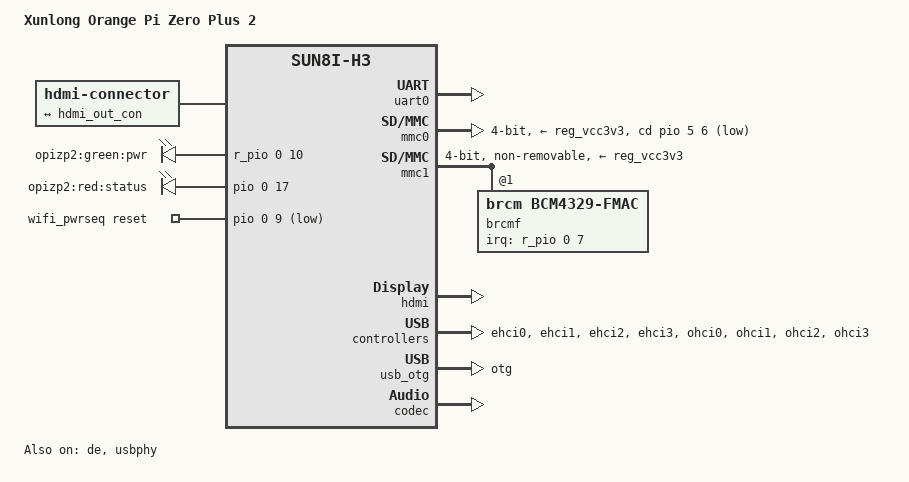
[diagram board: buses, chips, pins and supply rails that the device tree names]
/*
 * Copyright (C) 2015 Chen-Yu Tsai <wens@csie.org>
 * Copyright (C) 2018 Peter Mamonov <pmamonov@gmail.com>
 *
 * This file is dual-licensed: you can use it either under the terms
 * of the GPL or the X11 license, at your option. Note that this dual
 * licensing only applies to this file, and not this project as a
 * whole.
 *
 *  a) This file is free software; you can redistribute it and/or
 *     modify it under the terms of the GNU General Public License as
 *     published by the Free Software Foundation; either version 2 of the
 *     License, or (at your option) any later version.
 *
 *     This file is distributed in the hope that it will be useful,
 *     but WITHOUT ANY WARRANTY; without even the implied warranty of
 *     MERCHANTABILITY or FITNESS FOR A PARTICULAR PURPOSE.  See the
 *     GNU General Public License for more details.
 *
 * Or, alternatively,
 *
 *  b) Permission is hereby granted, free of charge, to any person
 *     obtaining a copy of this software and associated documentation
 *     files (the "Software"), to deal in the Software without
 *     restriction, including without limitation the rights to use,
 *     copy, modify, merge, publish, distribute, sublicense, and/or
 *     sell copies of the Software, and to permit persons to whom the
 *     Software is furnished to do so, subject to the following
 *     conditions:
 *
 *     The above copyright notice and this permission notice shall be
 *     included in all copies or substantial portions of the Software.
 *
 *     THE SOFTWARE IS PROVIDED "AS IS", WITHOUT WARRANTY OF ANY KIND,
 *     EXPRESS OR IMPLIED, INCLUDING BUT NOT LIMITED TO THE WARRANTIES
 *     OF MERCHANTABILITY, FITNESS FOR A PARTICULAR PURPOSE AND
 *     NONINFRINGEMENT. IN NO EVENT SHALL THE AUTHORS OR COPYRIGHT
 *     HOLDERS BE LIABLE FOR ANY CLAIM, DAMAGES OR OTHER LIABILITY,
 *     WHETHER IN AN ACTION OF CONTRACT, TORT OR OTHERWISE, ARISING
 *     FROM, OUT OF OR IN CONNECTION WITH THE SOFTWARE OR THE USE OR
 *     OTHER DEALINGS IN THE SOFTWARE.
 */

/dts-v1/;
#include "sun8i-h3.dtsi"
#include "sunxi-common-regulators.dtsi"

#include <dt-bindings/gpio/gpio.h>
#include <dt-bindings/input/input.h>

/ {
	model = "Xunlong Orange Pi Zero Plus 2";
	compatible = "xunlong,orangepi-zero-plus-2", "allwinner,sun8i-h3";

	aliases {
		serial0 = &uart0;
	};

	chosen {
		stdout-path = "serial0:115200n8";
	};

	connector {
		compatible = "hdmi-connector";
		type = "a";

		port {
			hdmi_con_in: endpoint {
				remote-endpoint = <&hdmi_out_con>;
			};
		};
	};

	leds {
		compatible = "gpio-leds";

		pwr {
			label = "opizp2:green:pwr";
			gpios = <&r_pio 0 10 GPIO_ACTIVE_HIGH>; /* PL10 */
			default-state = "on";
		};

		status {
			label = "opizp2:red:status";
			gpios = <&pio 0 17 GPIO_ACTIVE_HIGH>; /* PA17 */
			default-state = "on";
			linux,default-trigger = "heartbeat";
		};
	};
	wifi_pwrseq: wifi_pwrseq {
		compatible = "mmc-pwrseq-simple";
		reset-gpios = <&pio 0 9 GPIO_ACTIVE_LOW>; /* PA9 */
	};
};

&uart0 {
	pinctrl-names = "default";
	pinctrl-0 = <&uart0_pins_a>;
	status = "okay";
};

&mmc0 {
	vmmc-supply = <&reg_vcc3v3>;
	bus-width = <4>;
	cd-gpios = <&pio 5 6 GPIO_ACTIVE_LOW>; /* PF6 */
	status = "okay";
};

&mmc1 {
	vmmc-supply = <&reg_vcc3v3>;
	vqmmc-supply = <&reg_vcc3v3>;
	mmc-pwrseq = <&wifi_pwrseq>;
	bus-width = <4>;
	non-removable;
	status = "okay";

	brcmf: brcmf@1 {
		reg = <1>;
		compatible = "brcm,bcm4329-fmac";
		interrupt-parent = <&r_pio>;
		interrupts = <0 7 IRQ_TYPE_LEVEL_LOW>; /* PL7 / EINT7 */
		interrupt-names = "host-wake";
	};
};

&de {
	status = "okay";
};

&hdmi {
	status = "okay";
};

&hdmi_out {
	hdmi_out_con: endpoint {
		remote-endpoint = <&hdmi_con_in>;
	};
};

&ehci0 {
	status = "okay";
};

&ehci1 {
	status = "okay";
};

&ehci2 {
	status = "okay";
};

&ehci3 {
	status = "okay";
};

&ohci0 {
	status = "okay";
};

&ohci1 {
	status = "okay";
};

&ohci2 {
	status = "okay";
};

&ohci3 {
	status = "okay";
};

&usb_otg {
	dr_mode = "otg";
	status = "okay";
};

&usbphy {
	usb0_id_det-gpios = <&pio 0 21 GPIO_ACTIVE_HIGH>; /* PG12 */
	status = "okay";
};

&codec {
	allwinner,audio-routing =
		"Line Out", "LINEOUT",
		"MIC1", "Mic",
		"Mic",  "MBIAS";
	status = "okay";
};

